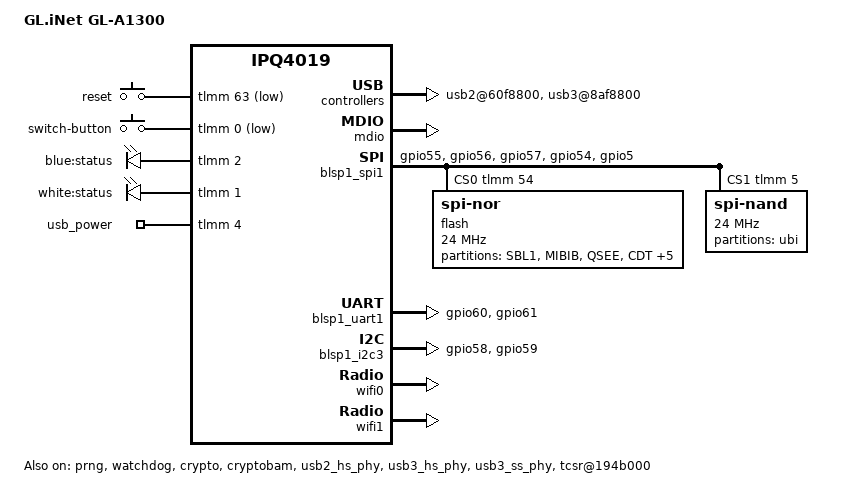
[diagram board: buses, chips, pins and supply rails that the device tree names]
// SPDX-License-Identifier: GPL-2.0-or-later OR MIT

#include "qcom-ipq4019.dtsi"
#include <dt-bindings/gpio/gpio.h>
#include <dt-bindings/input/input.h>
#include <dt-bindings/soc/qcom,tcsr.h>

/ {
	model = "GL.iNet GL-A1300";
	compatible = "glinet,gl-a1300", "qcom,ipq4019";

	aliases {
		led-boot = &led_run;
		led-failsafe = &led_run;
		led-running = &led_run;
		led-upgrade = &led_run;
	};

	chosen {
		bootargs-append = " ubi.mtd=ubi root=/dev/ubiblock0_1";
	};

	soc {
		tcsr@1949000 {
			compatible = "qcom,tcsr";
			reg = <0x1949000 0x100>;
			qcom,wifi_glb_cfg = <TCSR_WIFI_GLB_CFG>;
		};

		tcsr@194b000 {
			/* select hostmode */
			compatible = "qcom,tcsr";
			reg = <0x194b000 0x100>;
			qcom,usb-hsphy-mode-select = <TCSR_USB_HSPHY_HOST_MODE>;
			status = "okay";
		};

		ess_tcsr@1953000 {
			compatible = "qcom,tcsr";
			reg = <0x1953000 0x1000>;
			qcom,ess-interface-select = <TCSR_ESS_PSGMII>;
		};

		tcsr@1957000 {
			compatible = "qcom,tcsr";
			reg = <0x1957000 0x100>;
			qcom,wifi_noc_memtype_m0_m2 = <TCSR_WIFI_NOC_MEMTYPE_M0_M2>;
		};
		usb2@60f8800 {
			status = "okay";
		};

		usb3@8af8800 {
			status = "okay";
		};

		crypto@8e3a000 {
			status = "okay";
		};

		watchdog@b017000 {
			status = "okay";
		};

		ess-switch@c000000 {
			status = "okay";
			switch_lan_bmp = <0x18>;
			switch_wan_bmp = <0x20>;
		};

		edma@c080000 {
			status = "okay";
		};
	};

	keys {
		compatible = "gpio-keys";

		reset {
			label = "reset";
			gpios = <&tlmm 63 GPIO_ACTIVE_LOW>;
			linux,code = <KEY_RESTART>;
		};

		switch {
			label = "switch-button";
			gpios = <&tlmm 0 GPIO_ACTIVE_LOW>;
			linux,code = <KEY_SETUP>;
		};
	};

	leds {
		compatible = "gpio-leds";

		led_run: blue {
			label = "blue:status";
			gpios = <&tlmm 2 GPIO_ACTIVE_HIGH>;
		};

		white {
			label = "white:status";
			gpios = <&tlmm 1 GPIO_ACTIVE_HIGH>;
		};
	};

	gpio_export {
		compatible = "gpio-export";

		usb {
			gpio-export,name = "usb_power";
			gpio-export,output = <1>;
			gpios = <&tlmm 4 GPIO_ACTIVE_HIGH>;
		};
	};
};

&prng {
	status = "okay";
};

&mdio {
	status = "okay";
};

&blsp_dma {
	status = "okay";
};

&watchdog {
	status = "okay";
};

&crypto {
	status = "okay";
};

&cryptobam {
	status = "okay";
};

&blsp1_spi1 {
	status = "okay";

	pinctrl-0 = <&spi0_pins>;
	pinctrl-names = "default";
	cs-gpios = <&tlmm 54 GPIO_ACTIVE_HIGH>, <&tlmm 5 GPIO_ACTIVE_HIGH>;

	flash@0 {
		compatible = "jedec,spi-nor";
		reg = <0>;
		spi-max-frequency = <24000000>;

		partitions {
			compatible = "fixed-partitions";
			#address-cells = <1>;
			#size-cells = <1>;

			partition@0 {
				label = "SBL1";
				reg = <0x00000000 0x00040000>;
				read-only;
			};

			partition@40000 {
				label = "MIBIB";
				reg = <0x00040000 0x00020000>;
				read-only;
			};

			partition@60000 {
				label = "QSEE";
				reg = <0x00060000 0x00060000>;
				read-only;
			};

			partition@c0000 {
				label = "CDT";
				reg = <0x000c0000 0x00010000>;
				read-only;
			};

			partition@d0000 {
				label = "DDRPARAMS";
				reg = <0x000d0000 0x00010000>;
				read-only;
			};

			partition@e0000 {
				label = "APPSBLENV"; /* uboot env*/
				reg = <0x000e0000 0x00010000>;
			};

			partition@f0000 {
				label = "APPSBL"; /* uboot */
				reg = <0x000f0000 0x00080000>;
				read-only;
			};

			partition@170000 {
				label = "ART";
				reg = <0x00170000 0x00010000>;
				read-only;
				compatible = "nvmem-cells";

				precal_art_1000: precal@1000 {
					reg = <0x1000 0x2f20>;
				};

				precal_art_5000: precal@5000 {
					reg = <0x5000 0x2f20>;
				};

				macaddr_gmac0: macaddr@0 {
					reg = <0x0 0x6>;
				};

				macaddr_gmac1: macaddr@6 {
					reg = <0x6 0x6>;
				};
			};

			partition@180000 {
                                label = "log";
                                reg = <0x00180000 0x00020000>;
                        };
		};
	};

	spi-nand@1 {
		compatible = "spi-nand";
		reg = <1>;
		spi-max-frequency = <24000000>;

		partitions {
			compatible = "fixed-partitions";
			#address-cells = <1>;
			#size-cells = <1>;

			partition@0 {
				label = "ubi";
				reg = <0x00000000 0x08000000>;
			};
		};
	};
};

&blsp1_uart1 {
	pinctrl-0 = <&serial_pins>;
	pinctrl-names = "default";
	status = "okay";
};

&tlmm {
	serial_pins: serial_pinmux {
		mux {
			pins = "gpio60", "gpio61";
			function = "blsp_uart0";
			bias-disable;
		};
	};

	i2c_0_pins: i2c_0_pinmux {
		pinmux {
			pins = "gpio58", "gpio59";
			function = "blsp_i2c0";
			bias-disable;
		};
	};

	spi0_pins: spi0_pinmux {
		mux_spi {
			function = "blsp_spi0";
			pins = "gpio55", "gpio56", "gpio57";
			drive-strength = <12>;
			bias-disable;
		};

		mux_cs {
			function = "gpio";
			pins = "gpio54", "gpio5";
			drive-strength = <2>;
			bias-disable;
			output-high;
		};
	};
};

&blsp1_i2c3 {
        status = "okay";
        pinctrl-0 = <&i2c_0_pins>;
        pinctrl-names = "default";
};

&usb2_hs_phy {
	status = "okay";
};

&usb3_hs_phy {
	status = "okay";
};

&usb3_ss_phy {
	status = "okay";
};

&wifi0 {
	status = "okay";
	qcom,ath10k-calibration-variant = "GL-A1300";
};

&wifi1 {
	status = "okay";
	qcom,ath10k-calibration-variant = "GL-A1300";
};
